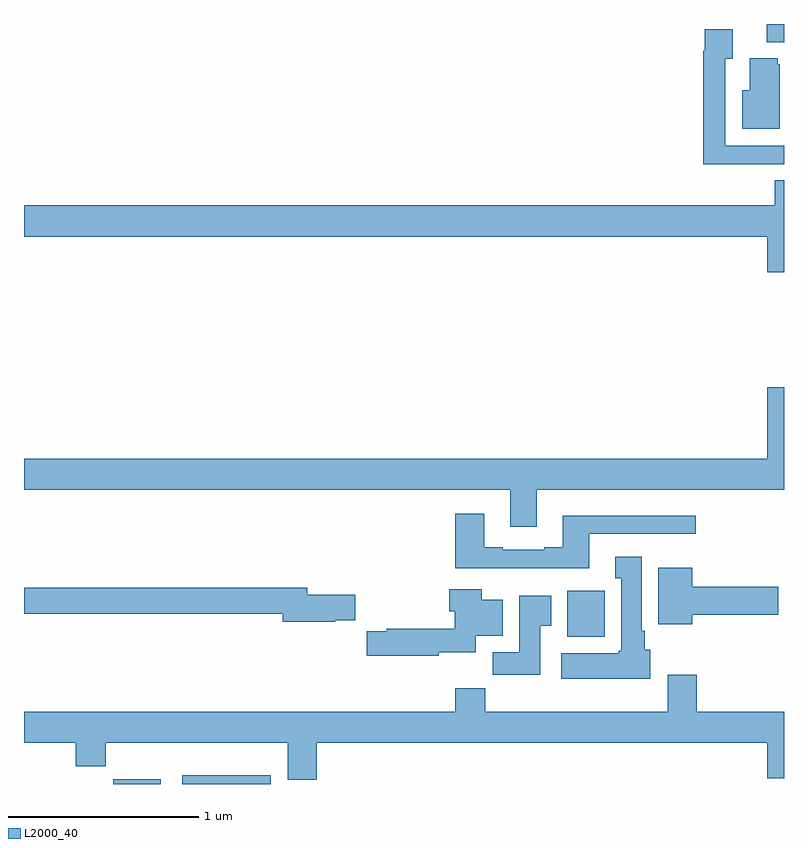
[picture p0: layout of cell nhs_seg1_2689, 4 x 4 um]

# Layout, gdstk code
import gdstk
lib = gdstk.Library(unit=1e-6, precision=1e-09)
def R(c, l, rs):  # rectangles x0, y0, x1, y1
    for r in rs: c.add(gdstk.rectangle(r[:2], r[2:], *l))
def P(c, l, *ps):  # polygons
    for p in ps: c.add(gdstk.Polygon(p, *l))
L2000_40 = (2000, 40)

nhs_seg1_2689 = lib.new_cell('nhs_seg1_2689')
R(nhs_seg1_2689, L2000_40, [(257.47,534.199,257.719,534.223), (257.834,534.199,258.298,534.244), (259.859,534.974,260.056,535.216), (260.909,538.103,261,538.199)])
P(nhs_seg1_2689, L2000_40, [(260.867,537.462),(261,537.462),(261,537.558),(260.691,537.558),(260.691,538.015),(260.731,538.015),(260.731,538.171),(260.583,538.171),(260.583,538.058),(260.575,538.058),(260.575,537.461),(260.867,537.461)],
  [(260.977,537.987),(260.966,537.987),(260.966,538.018),(260.819,538.018),(260.819,537.85),(260.78,537.85),(260.78,537.647),(260.977,537.647)],
  [(261,537.377),(260.951,537.377),(260.951,537.244),(257,537.244),(257,537.08),(260.912,537.08),(260.912,536.892),(261,536.892)],
  [(259.699,535.748),(261,535.748),(261,536.287),(260.912,536.287),(260.912,535.912),(257,535.912),(257,535.748),(259.559,535.748),(259.559,535.554),(259.699,535.554)],
  [(259.975,535.515),(260.536,535.515),(260.536,535.612),(259.835,535.612),(259.835,535.444),(259.739,535.444),(259.739,535.431),(259.519,535.431),(259.519,535.444),(259.423,535.444),(259.423,535.621),(259.271,535.621),(259.271,535.334),(259.975,535.334)],
  [(260.296,534.906),(260.266,534.906),(260.266,535.006),(260.251,535.006),(260.251,535.396),(260.111,535.396),(260.111,535.283),(260.144,535.283),(260.144,534.9),(260.131,534.9),(260.131,534.886),(259.827,534.886),(259.827,534.752),(260.296,534.752)],
  [(260.518,535.091),(260.971,535.091),(260.971,535.238),(260.518,535.238),(260.518,535.336),(260.339,535.336),(260.339,535.04),(260.518,535.04)],
  [(258.638,535.062),(258.743,535.062),(258.743,535.196),(258.49,535.196),(258.49,535.232),(257,535.232),(257,535.096),(258.362,535.096),(258.362,535.054),(258.638,535.054)],
  [(259.182,534.893),(259.378,534.893),(259.378,534.98),(259.519,534.98),(259.519,535.168),(259.408,535.168),(259.408,535.225),(259.238,535.225),(259.238,535.107),(259.268,535.107),(259.268,535.016),(258.91,535.016),(258.91,535.004),(258.805,535.004),(258.805,534.874),(259.182,534.874)],
  [(259.717,535.033),(259.774,535.033),(259.774,535.189),(259.607,535.189),(259.607,534.892),(259.468,534.892),(259.468,534.774),(259.717,534.774)],
  [(257,534.416),(257.273,534.416),(257.273,534.292),(257.429,534.292),(257.429,534.416),(258.389,534.416),(258.389,534.222),(258.541,534.222),(258.541,534.416),(260.912,534.416),(260.912,534.228),(261,534.228),(261,534.58),(260.54,534.58),(260.54,534.775),(260.387,534.775),(260.387,534.58),(259.427,534.58),(259.427,534.704),(259.271,534.704),(259.271,534.58),(257,534.58)])

lib.write_gds('nhs_seg1_2689.gds')
